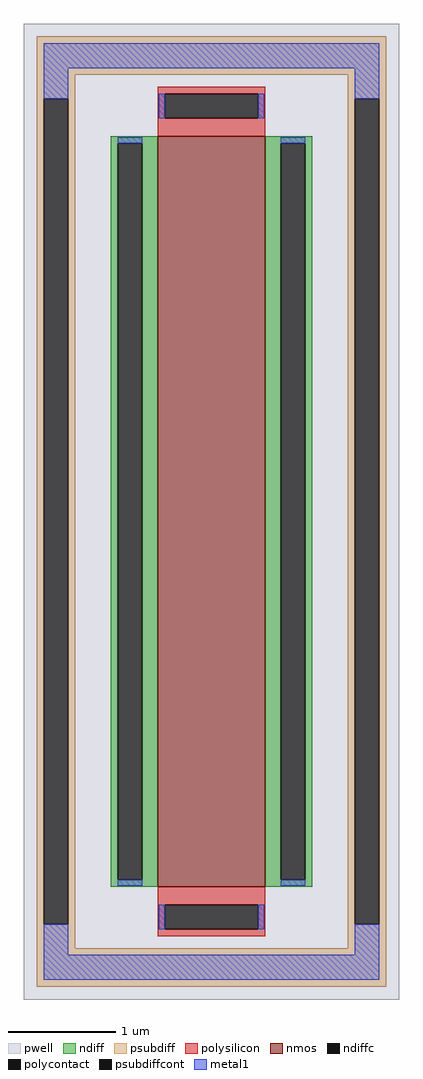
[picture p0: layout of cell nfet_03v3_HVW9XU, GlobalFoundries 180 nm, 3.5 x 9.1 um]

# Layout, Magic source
magic
tech gf180mcuD
magscale 1 10
<< pwell >>
rect -350 -910 350 910
<< nmos >>
rect -100 -700 100 700
<< ndiff >>
rect -188 687 -100 700
rect -188 -687 -175 687
rect -129 -687 -100 687
rect -188 -700 -100 -687
rect 100 687 188 700
rect 100 -687 129 687
rect 175 -687 188 687
rect 100 -700 188 -687
<< ndiffc >>
rect -175 -687 -129 687
rect 129 -687 175 687
<< psubdiff >>
rect -326 814 326 886
rect -326 770 -254 814
rect -326 -770 -313 770
rect -267 -770 -254 770
rect 254 770 326 814
rect -326 -814 -254 -770
rect 254 -770 267 770
rect 313 -770 326 770
rect 254 -814 326 -770
rect -326 -886 326 -814
<< psubdiffcont >>
rect -313 -770 -267 770
rect 267 -770 313 770
<< polysilicon >>
rect -100 779 100 792
rect -100 733 -87 779
rect 87 733 100 779
rect -100 700 100 733
rect -100 -733 100 -700
rect -100 -779 -87 -733
rect 87 -779 100 -733
rect -100 -792 100 -779
<< polycontact >>
rect -87 733 87 779
rect -87 -779 87 -733
<< metal1 >>
rect -313 827 313 873
rect -313 770 -267 827
rect -98 733 -87 779
rect 87 733 98 779
rect 267 770 313 827
rect -175 687 -129 698
rect -175 -698 -129 -687
rect 129 687 175 698
rect 129 -698 175 -687
rect -313 -827 -267 -770
rect -98 -779 -87 -733
rect 87 -779 98 -733
rect 267 -827 313 -770
rect -313 -873 313 -827
<< properties >>
string FIXED_BBOX -290 -850 290 850
string gencell nfet_03v3
string library gf180mcu
string parameters w 7.0 l 1.0 m 1 nf 1 diffcov 100 polycov 100 guard 1 glc 1 grc 1 gtc 0 gbc 0 tbcov 100 rlcov 100 topc 1 botc 1 poverlap 0 doverlap 1 lmin 0.28 wmin 0.22 class mosfet full_metal 1 compatible {nfet_03v3 nfet_05v0 nfet_06v0 nfet_06v0_nvt}
<< end >>
